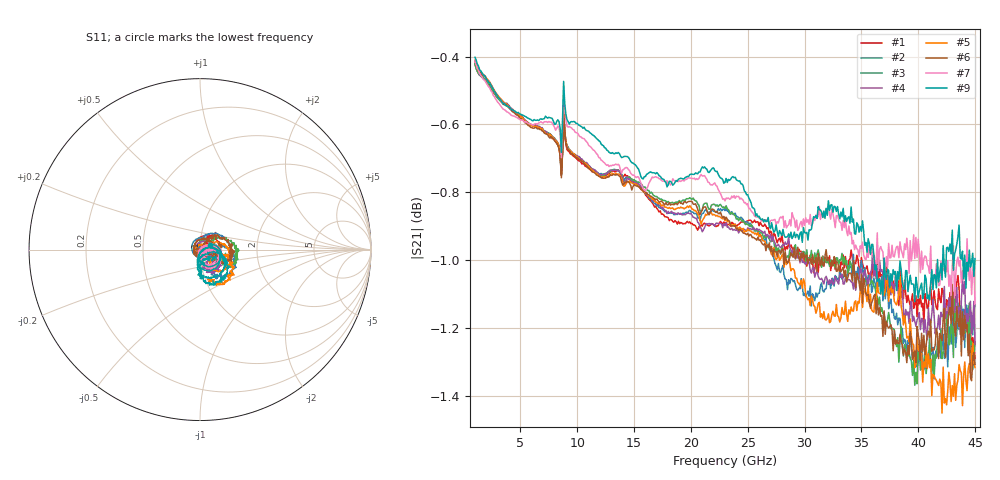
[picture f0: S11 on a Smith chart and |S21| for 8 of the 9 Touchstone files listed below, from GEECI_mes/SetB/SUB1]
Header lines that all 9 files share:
!Keysight Technologies,N5247B,MY61255062,A.19.80.06
!Correction: S11(Cdelta 2-Port  )
!S21(Cdelta 2-Port  )
!S12(Cdelta 2-Port  )
!S22(Cdelta 2-Port  )
!S2P File: Measurements: S11, S21, S12, S22:
# Hz S  dB  R 50
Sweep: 1 GHz to 45 GHz
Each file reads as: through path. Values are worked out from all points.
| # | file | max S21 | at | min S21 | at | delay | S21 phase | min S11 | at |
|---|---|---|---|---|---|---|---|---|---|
| 1 | 1.s2p | -0.42 dB | 1 GHz | -1.3 dB | 45 GHz | 55.9 ps | -104 deg at 23 GHz | -38.8 dB | 8.3 GHz |
| 2 | 2.s2p | -0.42 dB | 1 GHz | -1.3 dB | 41.4 GHz | 55.9 ps | -105 deg at 23 GHz | -67.0 dB | 9.4 GHz |
| 3 | 3.s2p | -0.42 dB | 1 GHz | -1.4 dB | 39.7 GHz | 55.9 ps | -104 deg at 23 GHz | -53.1 dB | 18.3 GHz |
| 4 | 4.s2p | -0.41 dB | 1 GHz | -1.2 dB | 45 GHz | 55.9 ps | -103 deg at 23 GHz | -42.0 dB | 9.7 GHz |
| 5 | 5.s2p | -0.41 dB | 1 GHz | -1.4 dB | 42.1 GHz | 56.3 ps | -107 deg at 23 GHz | -41.3 dB | 8.7 GHz |
| 6 | 6.s2p | -0.41 dB | 1 GHz | -1.4 dB | 44.7 GHz | 56.8 ps | -111 deg at 23 GHz | -57.6 dB | 17.6 GHz |
| 7 | thru_ref_nos1.s2p | -0.41 dB | 1 GHz | -1.1 dB | 45 GHz | 49.3 ps | -49 deg at 23 GHz | -53.8 dB | 11 GHz |
| 8 | thru_ref_nos2.s2p | -0.41 dB | 1 GHz | -1.2 dB | 40.1 GHz | 49 ps | -47 deg at 23 GHz | -33.4 dB | 11.4 GHz |
| 9 | thru_ref_nos3.s2p | -0.40 dB | 1 GHz | -1.1 dB | 39.7 GHz | 49.2 ps | -48 deg at 23 GHz | -39.4 dB | 11.6 GHz |
